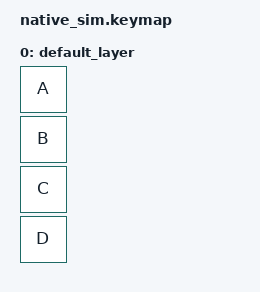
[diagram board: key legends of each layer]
#include "../test.dtsi"
#include <dt-bindings/zmk/keys.h>
#include <dt-bindings/zmk/kscan_mock.h>
#include <zmk_driver_animation/animation.dtsi>
#include <dt-bindings/zmk_driver_animation/animation_control.h>

/*
 * Phase C boot-apply test (DESIGN.md #3.5, #6 exit criteria: "settings tests
 * incl. persist across simulated reboot"). CONFIG_ZMK_ANIMATION_SETTINGS_TEST
 * (src/test/animation_settings_test.c) seeds a persisted, non-default
 * "brightness_powered" value (4) into a fake settings backend before ZMK's
 * main() calls settings_load(); this test asserts that
 * animation-control's init-animation-delay-ms delayed work (the same one
 * that enqueues the init animation) has applied that persisted value by the
 * time it logs, instead of this node's own default-powered-brightness (2).
 *
 * init-animation-delay-ms is kept short (10ms) so the test doesn't need to
 * wait for the (default 100ms) production delay.
 */

/ {
    mock_led_strip0: mock_led_strip_0 {
        compatible = "zmk,mock-led-strip";
        chain-length = <2>;
    };

    animation: animation {
        compatible = "zmk,animation";
        drivers = <&mock_led_strip0>;
        chain-lengths = <2>;
        pixels = <&pixel 0 0>, <&pixel 1 0>;
    };

    animation_solid0: animation_solid_0 {
        compatible = "zmk,animation-solid";
        pixels = <0 1>;
        colors = <HSL(0, 100, 50)>;
    };

    animation_solid1: animation_solid_1 {
        compatible = "zmk,animation-solid";
        pixels = <0 1>;
        colors = <HSL(120, 100, 50)>;
    };

    animation_control0: animation_control_0 {
        compatible = "zmk,animation-control";
        powered-animations = <&animation_solid0 &animation_solid1>;
        battery-animations = <&animation_solid0 &animation_solid1>;
        behavior-animations = <&animation_solid0>;
        brightness-steps = <5>;
        default-powered-brightness = <2>;
        default-battery-brightness = <2>;
        init-animation = <&animation_solid0>;
        init-animation-delay-ms = <10>;
    };

    chosen {
        zmk,animation = &animation_control0;
        zmk,animation-control = &animation_control0;
    };
};

&kscan {
    events = <
    ZMK_MOCK_PRESS(0,0,50)
    ZMK_MOCK_RELEASE(0,0,50)
    >;
};

/ {
    keymap {
        compatible = "zmk,keymap";

        default_layer {
            bindings = <
            &kp A
            &kp B
            &kp C
            &kp D
            >;
        };
    };
};
